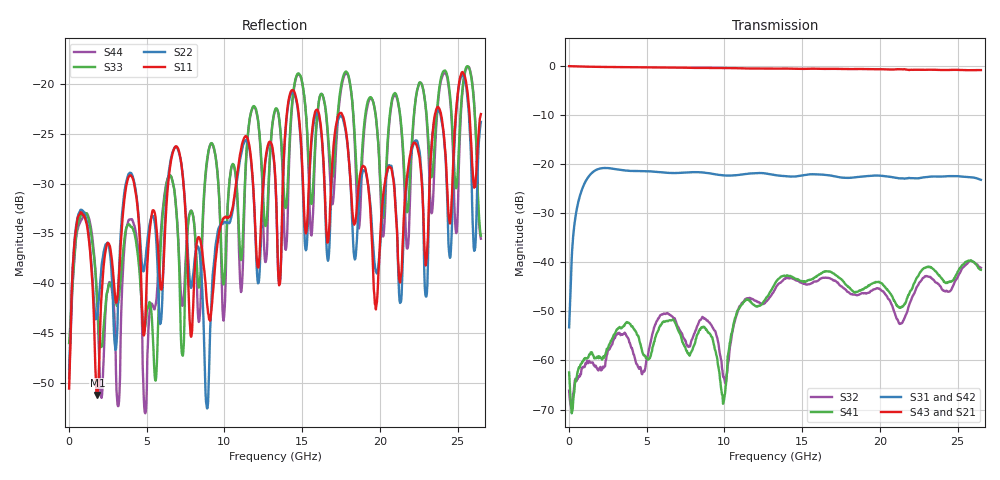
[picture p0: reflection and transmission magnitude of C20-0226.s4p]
! MARKI MICROWAVE INC.
! Email:  info@markimicrowave.com  Phone:  408-778-4200
! Model Number:  C20-0226  Date:  10/12
! Filename:		C20_0226.S4P  Version: 1.0
! Description:  4-port S-parameter data for Directional Coupler C20-0226
! Frequency Range: 	10 MHz to 26.5 GHz
! Port Configuration:	PORT 1: Input
!  PORT 2: Output
!  Port 3: Coupled
!  Port 4: Isolated
! S4P File: Measurements: Mag<S11> Ang<S11> Mag<S12> Ang<S12> Mag<S13> Ang<S13> Mag<S14> Ang<S14>! row 1
!  Mag<S21> Ang<S21> Mag<S22> Ang<S22> Mag<S23> Ang<S23> Mag<S24> Ang<S24>! row 2
!  Mag<S31> Ang<S31> Mag<S32> Ang<S32> Mag<S33> Ang<S33> Mag<S34> Ang<S34>! row 3
!  Mag<S41> Ang<S41> Mag<S42> Ang<S42> Mag<S43> Ang<S43> Mag<S44> Ang<S44>! row 4
# Hz S  dB  R 50
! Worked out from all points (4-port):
!   801 points, 10 MHz to 26.5 GHz, reference 50 ohm
!   strongest paths, dB at 10 MHz, 6.633 GHz, 13.26 GHz, 19.88 GHz, 26.5 GHz:
!     S43: 0.0, -0.3, -0.5, -0.6, -0.8
!     S21: 0.0, -0.3, -0.5, -0.6, -0.8
!     S31: -53.2, -21.8, -22.2, -22.3, -23.2
!     S42: -48.7, -21.8, -22.3, -22.4, -23.4
!     S41: -62.5, -51.8, -44.3, -44.0, -41.5
!     S32: -66.2, -51.0, -45.5, -45.3, -41.1
!   lowest |S11| = -51.2 dB at 1.831 GHz (marker M1), VSWR 1.01, Z = 50.2 - j0.229 ohm
!   |S11| at or under -10 dB: start of sweep to end of sweep
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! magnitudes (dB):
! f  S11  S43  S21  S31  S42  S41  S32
! 10 MHz  -50.6  0.0  0.0  -53.2  -48.7  -62.5  -66.2
! 1.831 GHz  -51.2  -0.2  -0.2  -21.0  -21.1  -59.2  -61.8
! 3.884 GHz  -29.2  -0.2  -0.2  -21.4  -21.4  -52.4  -56.4
! 9.878 GHz  -33.7  -0.4  -0.4  -22.2  -22.3  -67.1  -62.1
! 14.75 GHz  -22.6  -0.6  -0.6  -22.4  -22.5  -43.5  -43.8
! 19.75 GHz  -42.6  -0.6  -0.6  -22.3  -22.4  -44.0  -45.4
! 26.5 GHz  -23.0  -0.8  -0.8  -23.2  -23.4  -41.5  -41.1
